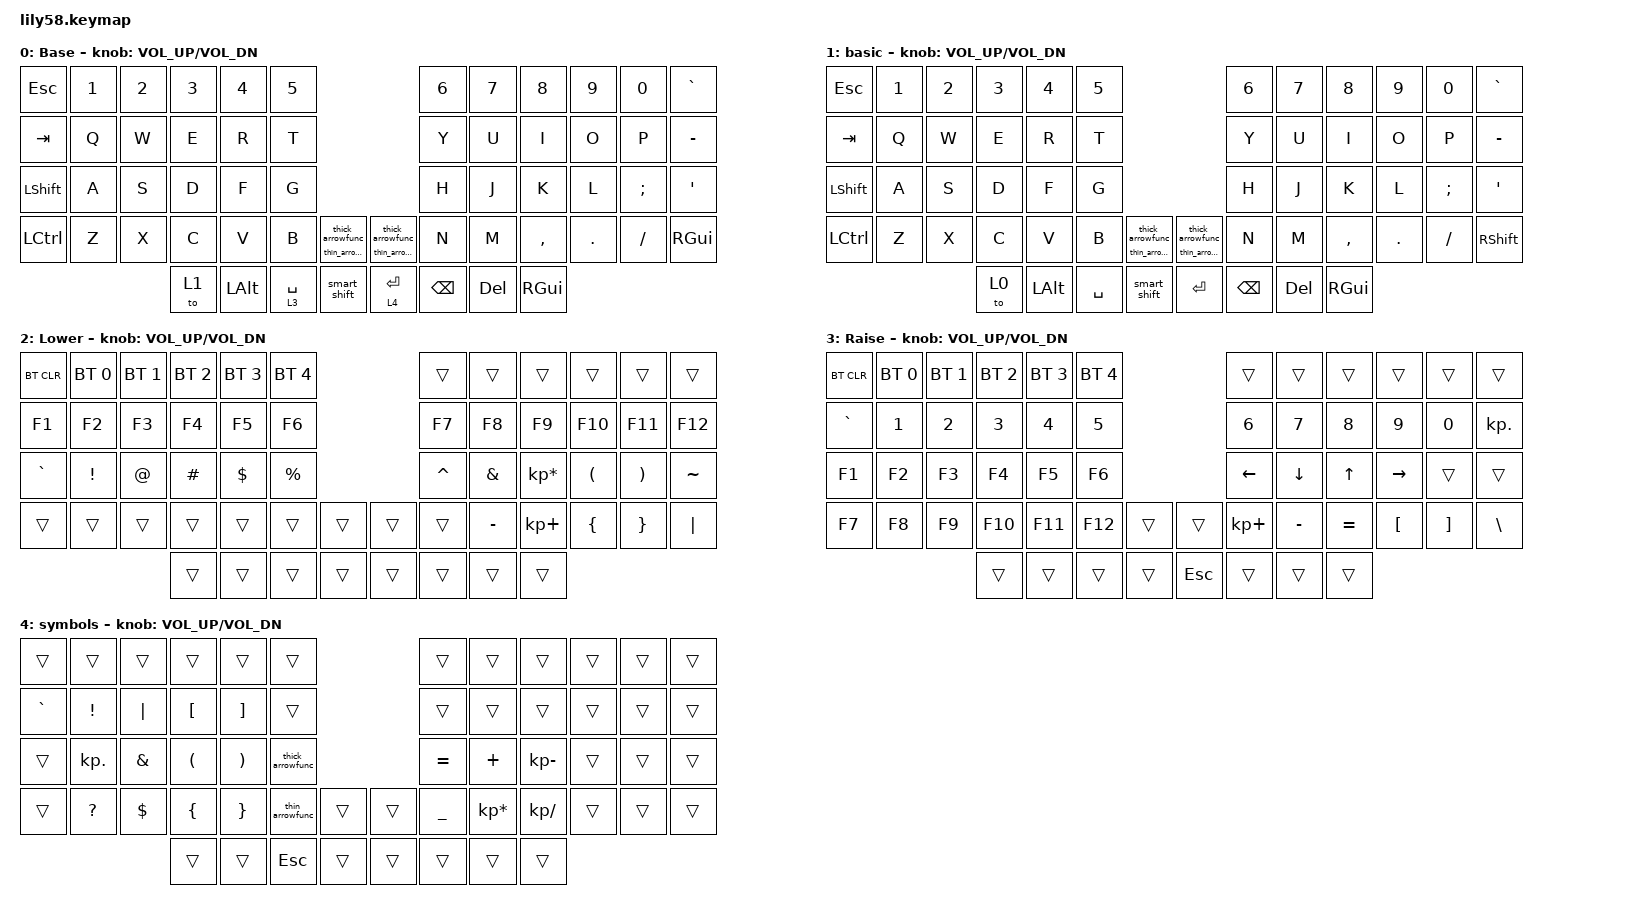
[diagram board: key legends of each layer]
/*
 * Copyright (c) 2020 The ZMK Contributors
 *
 * SPDX-License-Identifier: MIT
 */

#include <behaviors.dtsi>
#include <dt-bindings/zmk/bt.h>
#include <dt-bindings/zmk/keys.h>
#include <dt-bindings/zmk/outputs.h>

/ {
    behaviors {
        // For the "layer" key, it'd nice to be able to use it as either a shift or a toggle.
        // Configure it as a tap dance, so the first tap (or hold) is a &mo and the second tap is a &to

        layer_td: tap_dance_0 {
            compatible = "zmk,behavior-tap-dance";
            label = "LAYER_TAP_DANCE";
            #binding-cells = <0>;
            tapping-term-ms = <200>;
            bindings = <&mo 7>, <&to 7>;
        };

        arrowfuncs: arrowfuncs {
            compatible = "zmk,behavior-hold-tap";
            label = "ARROWFUNCS";
            bindings = <&thin_arrowfunc>, <&thick_arrowfunc>;

            #binding-cells = <2>;
            tapping-term-ms = <200>;
            flavor = "tap-preferred";
        };

        HRM_L: HRM_L {
            compatible = "zmk,behavior-hold-tap";
            label = "HRM_L";
            bindings = <&kp>, <&kp>;

            #binding-cells = <2>;
            tapping-term-ms = <280>;
            quick-tap-ms = <175>;
            require-prior-idle-ms = <150>;
            flavor = "balanced";
            hold-trigger-key-positions = <23 35 36 37 48 49 0 1 2 3 4 10 11 12 13 14 15 22 23 24 25 26 27 34 35 36 37 38 39 48 49 50 51 46 47 64 65 66 67 68 52 53 54 71 70 69 55 56 57 74 73 72>;
            hold-trigger-on-release;
        };

        HMR_R: HMR_R {
            compatible = "zmk,behavior-hold-tap";
            label = "HMR_R";
            bindings = <&kp>, <&kp>;

            #binding-cells = <2>;
            tapping-term-ms = <280>;
            quick-tap-ms = <175>;
            require-prior-idle-ms = <150>;
            flavor = "balanced";
            hold-trigger-on-release;
            hold-trigger-key-positions = <5 6 7 8 9 17 18 19 20 21 29 30 31 32 33 41 42 43 44 45 59 60 61 62 63 75 76 77 78 79 5 6 7 8 9 16 17 18 19 20 21 28 29 30 31 32 33 40 41 42 43 44 45 54 55 56 57 58 59 60 61 62 63 73 74 75 76 77 78 79 52 53 54 55 56 70 71 72 69>;
        };

        smart_shift: smart_shift {
            compatible = "zmk,behavior-mod-morph";
            label = "SMART_SHIFT";
            bindings = <&sk LSHIFT>, <&caps_word>;

            #binding-cells = <0>;
            mods = <(MOD_LSFT)>;
        };

        parentheses_carrot_L: parentheses_carrot_L {
            compatible = "zmk,behavior-mod-morph";
            label = "PARENTHESES_CARROT_L";
            bindings = <&kp LEFT_PARENTHESIS>, <&kp LESS_THAN>;

            #binding-cells = <0>;
            mods = <(MOD_LSFT)>;
        };

        parentheses_carrot_R: parentheses_carrot_R {
            compatible = "zmk,behavior-mod-morph";
            label = "PARENTHESES_CARROT_R";
            bindings = <&kp RIGHT_PARENTHESIS>, <&kp GREATER_THAN>;

            #binding-cells = <0>;
            mods = <(MOD_LSFT)>;
        };

        square_curly_L: square_curly_L {
            compatible = "zmk,behavior-mod-morph";
            label = "SQUARE_CURLY_L";
            bindings = <&kp LEFT_BRACE>, <&kp LEFT_BRACKET>;

            #binding-cells = <0>;
            mods = <(MOD_LSFT)>;
        };

        square_curly_R: square_curly_R {
            compatible = "zmk,behavior-mod-morph";
            label = "SQUARE_CURLY_R";
            bindings = <&kp RIGHT_BRACE>, <&kp RIGHT_BRACKET>;

            #binding-cells = <0>;
            mods = <(MOD_LSFT)>;
        };

        closed_parentheses_carrots: closed_parentheses_carrots {
            compatible = "zmk,behavior-mod-morph";
            label = "CLOSED_PARENTHESES_CARROTS";
            bindings = <&closed_parentheses>, <&closed_carrots>;

            #binding-cells = <0>;
            mods = <(MOD_LSFT)>;
        };

        closed_square_curly: closed_square_curly {
            compatible = "zmk,behavior-mod-morph";
            label = "CLOSED_SQUARE_CURLY";
            bindings = <&closed_braces>, <&closed_bracket>;

            #binding-cells = <0>;
            mods = <(MOD_LSFT)>;
        };
    };

    macros {
        bt_0: bt_profile_macro_0 {
            label = "BT_0";
            compatible = "zmk,behavior-macro";
            #binding-cells = <0>;
            bindings = <&out OUT_BLE &bt BT_SEL 0>;
        };

        bt_1: bt_profile_macro_1 {
            label = "BT_1";
            compatible = "zmk,behavior-macro";
            #binding-cells = <0>;
            bindings = <&out OUT_BLE &bt BT_SEL 1>;
        };

        bt_2: bt_profile_macro_2 {
            label = "BT_2";
            compatible = "zmk,behavior-macro";
            #binding-cells = <0>;
            bindings = <&out OUT_BLE &bt BT_SEL 2>;
        };

        bt_3: bt_profile_macro_3 {
            label = "BT_3";
            compatible = "zmk,behavior-macro";
            #binding-cells = <0>;
            bindings = <&out OUT_BLE &bt BT_SEL 3>;
        };

        thick_arrowfunc: thick_arrowfunc {
            compatible = "zmk,behavior-macro";
            #binding-cells = <0>;
            bindings = <&kp EQUAL &kp GREATER_THAN>;
            label = "THICK_ARROWFUNC";
        };

        thin_arrowfunc: thin_arrowfunc {
            compatible = "zmk,behavior-macro";
            #binding-cells = <0>;
            bindings = <&kp MINUS &kp GREATER_THAN>;
            label = "THIN_ARROWFUNC";
            wait-ms = <0>;
            tap-ms = <0>;
        };

        closed_parentheses: closed_parentheses {
            compatible = "zmk,behavior-macro";
            #binding-cells = <0>;
            bindings = <&kp LPAR &kp RPAR>;
            label = "CLOSED_PARENTHESES";
        };

        closed_carrots: new_macro {
            compatible = "zmk,behavior-macro";
            #binding-cells = <0>;
            bindings = <&kp LT &kp GT>;
            label = "NEW_MACRO";
        };

        closed_braces: closed_braces {
            compatible = "zmk,behavior-macro";
            #binding-cells = <0>;
            bindings = <&kp LEFT_BRACE &kp RIGHT_BRACE>;
            label = "CLOSED_BRACES";
        };

        closed_bracket: closed_bracket {
            compatible = "zmk,behavior-macro";
            #binding-cells = <0>;
            bindings = <&kp LEFT_BRACKET &kp RIGHT_BRACKET>;
            label = "CLOSED_BRACKET";
        };
    };

    combos {
        compatible = "zmk,combos";

        backspace_combo {
            bindings = <&kp BSPC>;
            key-positions = <19 20>;
        };

        delete_combo {
            bindings = <&kp DELETE>;
            key-positions = <20 21>;
        };

        p_c_l {
            bindings = <&parentheses_carrot_L>;
            key-positions = <32 31>;
        };

        p_c_r {
            bindings = <&parentheses_carrot_R>;
            key-positions = <33 32>;
        };

        tab_combo {
            bindings = <&kp TAB>;
            key-positions = <26 25>;
        };

        s_c_l {
            bindings = <&square_curly_L>;
            key-positions = <59 60 45 46>;
        };

        s_c_r {
            bindings = <&square_curly_R>;
            key-positions = <60 61 46 47>;
        };

        closed_p_c {
            bindings = <&closed_parentheses_carrots>;
            key-positions = <31 32 33>;
        };

        closed_s_c {
            bindings = <&closed_square_curly>;
            key-positions = <60 61 59 45 46 47>;
        };

        multiply {
            bindings = <&kp ASTERISK>;
            key-positions = <20 32>;
        };

        forward-slash {
            bindings = <&kp SLASH>;
            key-positions = <60 32 46>;
        };

        plus {
            bindings = <&kp PLUS>;
            key-positions = <19 31>;
        };

        subtract {
            bindings = <&kp MINUS>;
            key-positions = <59 31 45>;
        };

        caret-up {
            bindings = <&kp CARET>;
            key-positions = <18 30>;
        };

        underscore {
            bindings = <&kp UNDERSCORE>;
            key-positions = <58 30 44>;
        };

        ampersand {
            bindings = <&kp AMPERSAND>;
            key-positions = <21 33>;
        };

        pipe {
            bindings = <&kp PIPE>;
            key-positions = <61 33 47>;
        };

        percent {
            bindings = <&kp PERCENT>;
            key-positions = <17 29>;
        };

        dollar {
            bindings = <&kp DOLLAR>;
            key-positions = <16 28>;
        };

        hash {
            bindings = <&kp HASH>;
            key-positions = <15 27>;
        };

        at {
            bindings = <&kp AT_SIGN>;
            key-positions = <14 26>;
        };

        exclamation {
            bindings = <&kp EXCLAMATION>;
            key-positions = <13 25>;
        };

        question {
            bindings = <&kp QUESTION>;
            key-positions = <25 37>;
        };

        period {
            bindings = <&kp PERIOD>;
            key-positions = <26 38>;
        };

        back-slash {
            bindings = <&kp BACKSLASH>;
            key-positions = <27 39>;
        };

        equal {
            bindings = <&kp EQUAL>;
            key-positions = <40 28>;
        };

        tilde {
            bindings = <&kp GRAVE>;
            key-positions = <29 41>;
        };

        escape {
            bindings = <&kp ESCAPE>;
            key-positions = <54 52>;
        };
    };

    keymap {
        compatible = "zmk,keymap";

        default_layer {
            // ------------------------------------------------------------------------------------------------------------
            // |  ESC  |  1  |  2  |  3   |  4   |  5   |                   |  6   |  7    |  8    |  9   |   0   |   `   |
            // |  TAB  |  Q  |  W  |  E   |  R   |  T   |                   |  Y   |  U    |  I    |  O   |   P   |   -   |
            // |  CTRL |  A  |  S  |  D   |  F   |  G   |                   |  H   |  J    |  K    |  L   |   ;   |   '   |
            // | SHIFT |  Z  |  X  |  C   |  V   |  B   |   "["  |  |  "]"  |  N   |  M    |  ,    |  .   |   /   | SHIFT |
            //                     | ALT  | GUI  | LOWER|  SPACE |  | ENTER | RAISE| BSPC  | GUI   |

            display-name = "Base";
            bindings = <
&kp ESC           &kp N1  &kp N2  &kp N3  &kp N4    &kp N5                                           &kp N6         &kp N7   &kp N8     &kp N9   &kp N0    &kp GRAVE
&kp TAB           &kp Q   &kp W   &kp E   &kp R     &kp T                                            &kp Y          &kp U    &kp I      &kp O    &kp P     &kp MINUS
&kp LEFT_SHIFT    &kp A   &kp S   &kp D   &kp F     &kp G                                            &kp H          &kp J    &kp K      &kp L    &kp SEMI  &kp SQT
&kp LEFT_CONTROL  &kp Z   &kp X   &kp C   &kp V     &kp B        &arrowfuncs 0 0    &arrowfuncs 0 0  &kp N          &kp M    &kp COMMA  &kp DOT  &kp FSLH  &kp RGUI
                                  &to 1   &kp LALT  &lt 3 SPACE  &smart_shift       &lt 4 ENTER      &kp BACKSPACE  &kp DEL  &kp RGUI
            >;

            sensor-bindings = <&inc_dec_kp C_VOL_UP C_VOL_DN>;
        };

        basic {
            display-name = "basic";
            bindings = <
&kp ESC           &kp N1  &kp N2  &kp N3  &kp N4    &kp N5                                         &kp N6         &kp N7   &kp N8     &kp N9   &kp N0    &kp GRAVE
&kp TAB           &kp Q   &kp W   &kp E   &kp R     &kp T                                          &kp Y          &kp U    &kp I      &kp O    &kp P     &kp MINUS
&kp LEFT_SHIFT    &kp A   &kp S   &kp D   &kp F     &kp G                                          &kp H          &kp J    &kp K      &kp L    &kp SEMI  &kp SQT
&kp LEFT_CONTROL  &kp Z   &kp X   &kp C   &kp V     &kp B      &arrowfuncs 0 0    &arrowfuncs 0 0  &kp N          &kp M    &kp COMMA  &kp DOT  &kp FSLH  &kp RSHFT
                                  &to 0   &kp LALT  &kp SPACE  &smart_shift       &kp ENTER        &kp BACKSPACE  &kp DEL  &kp RGUI
            >;

            sensor-bindings = <&inc_dec_kp C_VOL_UP C_VOL_DN>;
        };

        lower_layer {
            // ------------------------------------------------------------------------------------------------------------
            // | BTCLR | BT1 | BT2 |  BT3 |  BT4 |  BT5 |                   |      |       |       |      |       |       |
            // |  F1   |  F2 |  F3 |  F4  |  F5  |  F6  |                   |  F7  |  F8   |  F9   |  F10 |  F11  |  F12  |
            // |   `   |  !  |  @  |  #   |  $   |  %   |                   |  ^   |  &    |  *    |  (   |   )   |   ~   |
            // |       |     |     |      |      |      |        |  |       |      |  _    |  +    |  {   |   }   |  "|"  |
            //                     |      |      |      |        |  |       |      |       |       |

            display-name = "Lower";
            bindings = <
&bt BT_CLR  &bt BT_SEL 0  &bt BT_SEL 1  &bt BT_SEL 2  &bt BT_SEL 3  &bt BT_SEL 4                    &trans     &trans     &trans           &trans    &trans    &trans
&kp F1      &kp F2        &kp F3        &kp F4        &kp F5        &kp F6                          &kp F7     &kp F8     &kp F9           &kp F10   &kp F11   &kp F12
&kp GRAVE   &kp EXCL      &kp AT        &kp HASH      &kp DOLLAR    &kp PRCNT                       &kp CARET  &kp AMPS   &kp KP_MULTIPLY  &kp LPAR  &kp RPAR  &kp TILDE
&trans      &trans        &trans        &trans        &trans        &trans        &trans    &trans  &trans     &kp MINUS  &kp KP_PLUS      &kp LBRC  &kp RBRC  &kp PIPE
                                        &trans        &trans        &trans        &trans    &trans  &trans     &trans     &trans
            >;

            sensor-bindings = <&inc_dec_kp C_VOL_UP C_VOL_DN>;
        };

        raise_layer {
            // ------------------------------------------------------------------------------------------------------------
            // |       |     |     |      |      |      |                   |      |       |       |      |       |       |
            // |   `   |  1  |  2  |  3   |  4   |  5   |                   |  6   |   7   |   8   |  9   |   0   |       |
            // |   F1  |  F2 |  F3 |  F4  |  F5  |  F6  |                   |      |   <-  |   v   |  ^   |  ->   |       |
            // |   F7  |  F8 |  F9 |  F10 |  F11 |  F12 |        |  |       |  +   |   -   |   =   |  [   |   ]   |   \   |
            //                     |      |      |      |        |  |       |      |       |       |

            display-name = "Raise";
            bindings = <
&bt BT_CLR  &bt BT_SEL 0  &bt BT_SEL 1  &bt BT_SEL 2  &bt BT_SEL 3  &bt BT_SEL 4                        &trans          &trans     &trans        &trans     &trans    &trans
&kp GRAVE   &kp N1        &kp N2        &kp N3        &kp N4        &kp N5                              &kp N6          &kp N7     &kp N8        &kp N9     &kp N0    &kp KP_DOT
&kp F1      &kp F2        &kp F3        &kp F4        &kp F5        &kp F6                              &kp LEFT_ARROW  &kp DOWN   &kp UP_ARROW  &kp RIGHT  &trans    &trans
&kp F7      &kp F8        &kp F9        &kp F10       &kp F11       &kp F12       &trans    &trans      &kp KP_PLUS     &kp MINUS  &kp EQUAL     &kp LBKT   &kp RBKT  &kp BSLH
                                        &trans        &trans        &trans        &trans    &kp ESCAPE  &trans          &trans     &trans
            >;

            sensor-bindings = <&inc_dec_kp C_VOL_UP C_VOL_DN>;
        };

        symbols {
            display-name = "symbols";
            bindings = <
&trans     &trans        &trans         &trans                &trans                 &trans                              &trans          &trans           &trans         &trans  &trans  &trans
&kp GRAVE  &kp EXCL      &kp PIPE       &kp LEFT_BRACKET      &kp RIGHT_BRACKET      &trans                              &trans          &trans           &trans         &trans  &trans  &trans
&trans     &kp KP_DOT    &kp AMPERSAND  &kp LEFT_PARENTHESIS  &kp RIGHT_PARENTHESIS  &thick_arrowfunc                    &kp EQUAL       &kp PLUS         &kp KP_MINUS   &trans  &trans  &trans
&trans     &kp QUESTION  &kp DOLLAR     &kp LEFT_BRACE        &kp RIGHT_BRACE        &thin_arrowfunc   &trans    &trans  &kp UNDERSCORE  &kp KP_MULTIPLY  &kp KP_DIVIDE  &trans  &trans  &trans
                                        &trans                &trans                 &kp ESCAPE        &trans    &trans  &trans          &trans           &trans
            >;

            sensor-bindings = <&inc_dec_kp C_VOL_UP C_VOL_DN>;
        };

        extra_1 { status = "reserved"; };

        extra_2 { status = "reserved"; };

        extra_3 { status = "reserved"; };
    };
};
